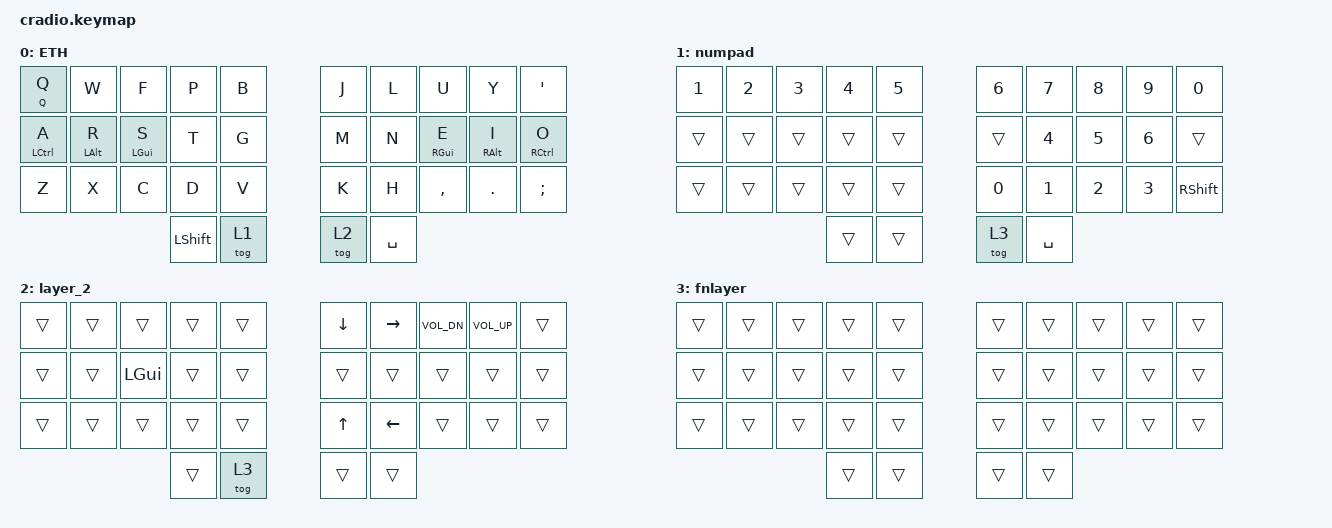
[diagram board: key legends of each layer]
#include <behaviors.dtsi>
#include <dt-bindings/zmk/keys.h>

/ {
    combos {
        compatible = "zmk,combos";

        tab {
            bindings = <&kp TAB>;
            key-positions = <11 12>;
        };

        ent {
            bindings = <&kp ENTER>;
            key-positions = <18 17>;
        };

        escape {
            bindings = <&kp ESCAPE>;
            key-positions = <1 2>;
        };

        backspace {
            bindings = <&kp BACKSPACE>;
            key-positions = <7 8>;
        };

        tilde {
            bindings = <&kp GRAVE>;
            key-positions = <10 11>;
        };

        excamation {
            bindings = <&kp EXCLAMATION>;
            key-positions = <0 10>;
        };

        caret {
            bindings = <&kp CARET>;
            key-positions = <5 15>;
        };

        sobaka {
            bindings = <&kp AT>;
            key-positions = <1 11>;
        };

        and {
            bindings = <&kp AMPERSAND>;
            key-positions = <6 16>;
        };

        hashtag {
            bindings = <&kp HASH>;
            key-positions = <2 12>;
        };

        asterisk {
            bindings = <&kp ASTERISK>;
            key-positions = <7 17>;
        };

        dolla {
            bindings = <&kp DOLLAR>;
            key-positions = <3 13>;
        };

        openpar {
            bindings = <&kp LEFT_PARENTHESIS>;
            key-positions = <8 18>;
        };

        percent {
            bindings = <&kp PERCENT>;
            key-positions = <4 14>;
        };

        closeparen {
            bindings = <&kp RIGHT_PARENTHESIS>;
            key-positions = <9 19>;
        };

        equals {
            bindings = <&kp EQUAL>;
            key-positions = <17 27>;
        };

        dash {
            bindings = <&kp MINUS>;
            key-positions = <16 26>;
        };

        frwdslash {
            bindings = <&kp SLASH>;
            key-positions = <18 28>;
        };

        bckslash {
            bindings = <&kp NON_US_BACKSLASH>;
            key-positions = <19 29>;
        };

        sqbrc {
            bindings = <&kp LEFT_BRACKET>;
            key-positions = <12 22>;
        };

        sqcls {
            bindings = <&kp RIGHT_BRACKET>;
            key-positions = <13 23>;
        };

        playpause {
            bindings = <&kp C_PLAY_PAUSE>;
            key-positions = <5 6>;
        };
    };

    macros {
        ctrl_shift: ctrl_shift {
            compatible = "zmk,behavior-macro";
            #binding-cells = <0>;
            bindings = <&kp LCTRL &kp LSHIFT>, <&macro_press>;

            label = "CTRL_SHIFT";
        };
    };

    keymap {
        compatible = "zmk,keymap";

        ETH {
            bindings = <
&mt Q Q      &kp W       &kp F       &kp P           &kp B     &kp J   &kp L      &kp U       &kp Y       &kp APOS
&mt LCTRL A  &mt LALT R  &mt LGUI S  &kp T           &kp G     &kp M   &kp N      &mt RGUI E  &mt RALT I  &mt RCTRL O
&kp Z        &kp X       &kp C       &kp D           &kp V     &kp K   &kp H      &kp COMMA   &kp DOT     &kp SEMI
                                     &kp LEFT_SHIFT  &tog 1    &tog 2  &kp SPACE
            >;
        };

        numpad {
            bindings = <
&kp N1  &kp N2  &kp N3  &kp N4  &kp N5    &kp N6  &kp N7     &kp N8  &kp N9  &kp N0
&trans  &trans  &trans  &trans  &trans    &trans  &kp N4     &kp N5  &kp N6  &trans
&trans  &trans  &trans  &trans  &trans    &kp N0  &kp N1     &kp N2  &kp N3  &kp RIGHT_SHIFT
                        &trans  &trans    &tog 3  &kp SPACE
            >;
        };

        layer_2 {
            bindings = <
&trans  &trans  &trans    &trans  &trans    &kp DOWN  &kp RIGHT  &kp C_VOL_DN  &kp C_VOL_UP  &trans
&trans  &trans  &kp LGUI  &trans  &trans    &trans    &trans     &trans        &trans        &trans
&trans  &trans  &trans    &trans  &trans    &kp UP    &kp LEFT   &trans        &trans        &trans
                          &trans  &tog 3    &trans    &trans
            >;
        };

        fnlayer {
            bindings = <
&trans  &trans  &trans  &trans  &trans    &trans  &trans  &trans  &trans  &trans
&trans  &trans  &trans  &trans  &trans    &trans  &trans  &trans  &trans  &trans
&trans  &trans  &trans  &trans  &trans    &trans  &trans  &trans  &trans  &trans
                        &trans  &trans    &trans  &trans
            >;
        };
    };
};
